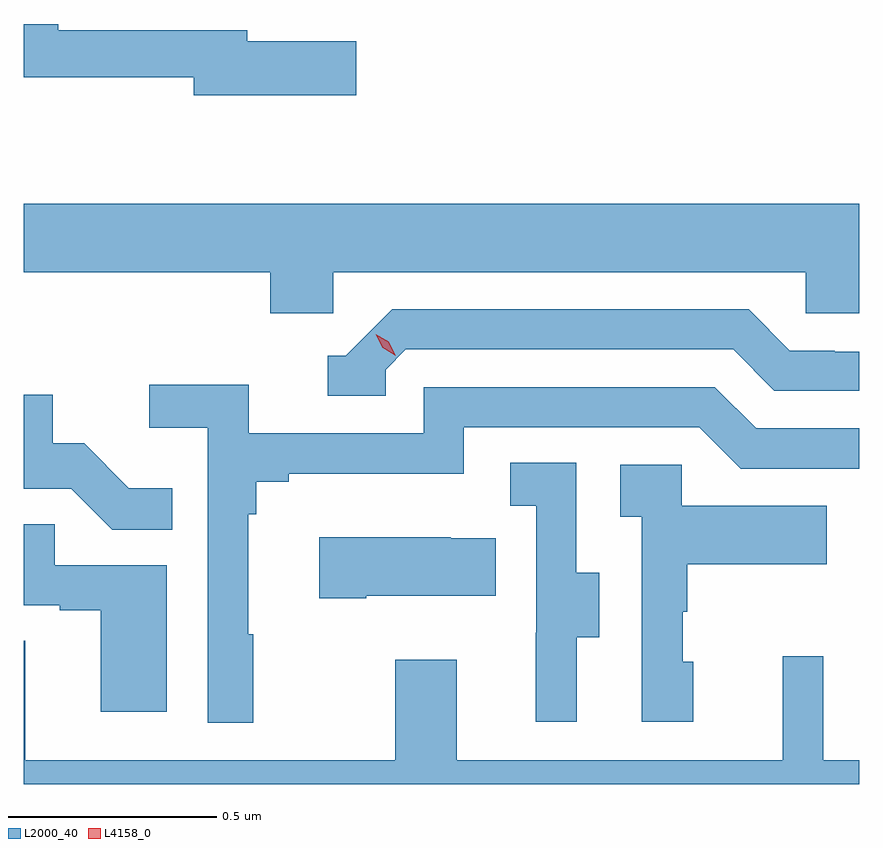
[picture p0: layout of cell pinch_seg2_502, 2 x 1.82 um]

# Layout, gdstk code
import gdstk
lib = gdstk.Library(unit=1e-6, precision=1e-09)
def P(c, l, *ps):  # polygons
    for p in ps: c.add(gdstk.Polygon(p, *l))
L2000_40 = (2000, 40)
L4158_0 = (4158, 0)

pinch_seg2_502 = lib.new_cell('pinch_seg2_502')
P(pinch_seg2_502, L2000_40, [(974.257,597.573),(973.996,597.573),(973.996,597.599),(973.544,597.599),(973.544,597.614),(973.461,597.614),(973.461,597.486),(973.868,597.486),(973.868,597.443),(974.257,597.443)],
  [(974.202,597.02),(975.333,597.02),(975.333,596.922),(975.461,596.922),(975.461,597.184),(973.461,597.184),(973.461,597.02),(974.051,597.02),(974.051,596.922),(974.202,596.922)],
  [(974.328,596.787),(974.376,596.835),(975.159,596.835),(975.258,596.736),(975.461,596.736),(975.461,596.829),(975.402,596.829),(975.402,596.832),(975.295,596.832),(975.196,596.931),(974.343,596.931),(974.232,596.82),(974.189,596.82),(974.189,596.724),(974.328,596.724)],
  [(974.011,596.153),(973.999,596.153),(973.999,596.441),(974.018,596.441),(974.018,596.518),(974.095,596.518),(974.095,596.537),(974.514,596.537),(974.514,596.649),(975.078,596.649),(975.177,596.55),(975.461,596.55),(975.461,596.646),(975.214,596.646),(975.115,596.745),(974.418,596.745),(974.418,596.634),(974,596.634),(974,596.75),(973.761,596.75),(973.761,596.648),(973.902,596.648),(973.902,595.941),(974.011,595.941)],
  [(973.817,596.503),(973.713,596.503),(973.606,596.61),(973.53,596.61),(973.53,596.727),(973.461,596.727),(973.461,596.502),(973.575,596.502),(973.673,596.404),(973.817,596.404)],
  [(974.785,596.146),(974.839,596.146),(974.839,596.301),(974.784,596.301),(974.784,596.564),(974.625,596.564),(974.625,596.461),(974.688,596.461),(974.688,596.157),(974.687,596.157),(974.687,595.944),(974.785,595.944)],
  [(975.064,596.088),(975.039,596.088),(975.039,596.207),(975.049,596.207),(975.049,596.321),(975.383,596.321),(975.383,596.461),(975.036,596.461),(975.036,596.559),(974.889,596.559),(974.889,596.435),(974.94,596.435),(974.94,595.944),(975.064,595.944)],
  [(973.804,596.319),(973.535,596.319),(973.535,596.417),(973.461,596.417),(973.461,596.223),(973.547,596.223),(973.547,596.211),(973.646,596.211),(973.646,595.968),(973.804,595.968)],
  [(974.281,596.246),(974.591,596.246),(974.591,596.383),(974.483,596.383),(974.483,596.386),(974.169,596.386),(974.169,596.239),(974.281,596.239)],
  [(975.461,595.852),(975.375,595.852),(975.375,596.101),(975.278,596.101),(975.278,595.852),(974.497,595.852),(974.497,596.092),(974.35,596.092),(974.35,595.852),(973.465,595.852),(973.465,596.138),(973.461,596.138),(973.461,595.795),(975.461,595.795)])
P(pinch_seg2_502, L4158_0, [(974.351,596.82),(974.32,596.839),(974.304,596.872),(974.304,596.872),(974.304,596.872),(974.335,596.853),(974.351,596.82),(974.351,596.82)])

lib.write_gds('pinch_seg2_502.gds')
